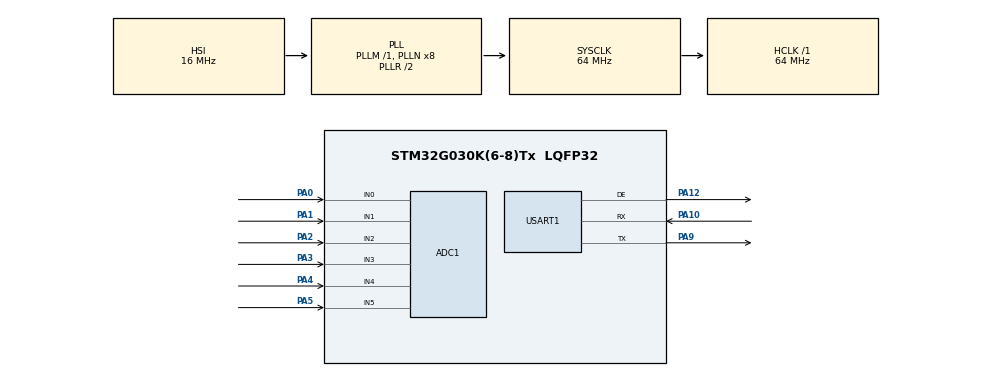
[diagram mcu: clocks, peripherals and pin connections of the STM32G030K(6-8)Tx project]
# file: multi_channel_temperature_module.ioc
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ADC1.Channel-0\#ChannelRegularConversion=ADC_CHANNEL_0
ADC1.Channel-1\#ChannelRegularConversion=ADC_CHANNEL_1
ADC1.Channel-2\#ChannelRegularConversion=ADC_CHANNEL_2
ADC1.Channel-3\#ChannelRegularConversion=ADC_CHANNEL_3
ADC1.Channel-4\#ChannelRegularConversion=ADC_CHANNEL_4
ADC1.Channel-5\#ChannelRegularConversion=ADC_CHANNEL_5
ADC1.Channel-6\#ChannelRegularConversion=ADC_CHANNEL_VREFINT
ADC1.ContinuousConvMode=ENABLE
ADC1.NbrOfConversion=7
ADC1.NbrOfConversionFlag=1
ADC1.OversamplingMode=ENABLE
ADC1.Rank-0\#ChannelRegularConversion=1
ADC1.Rank-1\#ChannelRegularConversion=2
ADC1.Rank-2\#ChannelRegularConversion=3
ADC1.Rank-3\#ChannelRegularConversion=4
ADC1.Rank-4\#ChannelRegularConversion=5
ADC1.Rank-5\#ChannelRegularConversion=6
ADC1.Rank-6\#ChannelRegularConversion=7
ADC1.Ratio=ADC_OVERSAMPLING_RATIO_16
ADC1.RightBitShift=ADC_RIGHTBITSHIFT_4
ADC1.SamplingTime-0\#ChannelRegularConversion=ADC_SAMPLINGTIME_COMMON_1
ADC1.SamplingTime-1\#ChannelRegularConversion=ADC_SAMPLINGTIME_COMMON_1
ADC1.SamplingTime-2\#ChannelRegularConversion=ADC_SAMPLINGTIME_COMMON_1
ADC1.SamplingTime-3\#ChannelRegularConversion=ADC_SAMPLINGTIME_COMMON_1
ADC1.SamplingTime-4\#ChannelRegularConversion=ADC_SAMPLINGTIME_COMMON_1
ADC1.SamplingTime-5\#ChannelRegularConversion=ADC_SAMPLINGTIME_COMMON_1
ADC1.SamplingTime-6\#ChannelRegularConversion=ADC_SAMPLINGTIME_COMMON_1
ADC1.SamplingTimeCommon1=ADC_SAMPLETIME_12CYCLES_5
ADC1.SamplingTimeCommon2=ADC_SAMPLETIME_12CYCLES_5
ADC1.SelectedChannel=ADC_CHANNEL_0|ADC_CHANNEL_1|ADC_CHANNEL_2|ADC_CHANNEL_3|ADC_CHANNEL_4|ADC_CHANNEL_5|ADC_CHANNEL_VREFINT
ADC1.master=1
Dma.ADC1.0.Direction=DMA_PERIPH_TO_MEMORY
Dma.ADC1.0.EventEnable=DISABLE
Dma.ADC1.0.Instance=DMA1_Channel1
Dma.ADC1.0.MemDataAlignment=DMA_MDATAALIGN_HALFWORD
Dma.ADC1.0.MemInc=DMA_MINC_ENABLE
Dma.ADC1.0.Mode=DMA_CIRCULAR
Dma.ADC1.0.PeriphDataAlignment=DMA_PDATAALIGN_HALFWORD
Dma.ADC1.0.PeriphInc=DMA_PINC_DISABLE
Dma.ADC1.0.Polarity=HAL_DMAMUX_REQ_GEN_RISING
Dma.ADC1.0.Priority=DMA_PRIORITY_LOW
Dma.ADC1.0.RequestNumber=1
Dma.ADC1.0.SignalID=NONE
Dma.ADC1.0.SyncEnable=DISABLE
Dma.ADC1.0.SyncPolarity=HAL_DMAMUX_SYNC_NO_EVENT
Dma.ADC1.0.SyncRequestNumber=1
Dma.ADC1.0.SyncSignalID=NONE
Dma.Request0=ADC1
FREERTOS.Tasks01=analog,-3,128,Analog_Task,Default,NULL,Dynamic,NULL,NULL;communication,-3,128,Communication_Task,Default,NULL,Dynamic,NULL,NULL;memory,-3,128,Memory_Task,Default,NULL,Dynamic,NULL,NULL
FREERTOS.configUSE_NEWLIB_REENTRANT=1
Mcu.Family=STM32G0
Mcu.Name=STM32G030K(6-8)Tx
Mcu.Package=LQFP32
NVIC.DMA1_Channel1_IRQn=true\:3\:0\:false\:false\:true\:true\:false\:true\:true
NVIC.TIM14_IRQn=true\:3\:0\:false\:false\:true\:false\:false\:true\:true
NVIC.TimeBase=TIM14_IRQn
NVIC.TimeBaseIP=TIM14
PA0.Mode=IN0
PA0.Signal=ADC1_IN0
PA1.Mode=IN1
PA1.Signal=ADC1_IN1
PA10.Mode=Asynchronous
PA10.Signal=USART1_RX
PA12\ [PA10].Mode=Hardware Flow Control (RS485)
PA12\ [PA10].Signal=USART1_DE
PA13.Mode=Serial_Wire
PA13.Signal=SYS_SWDIO
PA14-BOOT0.Mode=Serial_Wire
PA14-BOOT0.Signal=SYS_SWCLK
PA2.Mode=IN2
PA2.Signal=ADC1_IN2
PA3.Mode=IN3
PA3.Signal=ADC1_IN3
PA4.Mode=IN4
PA4.Signal=ADC1_IN4
PA5.Mode=IN5
PA5.Signal=ADC1_IN5
PA9.Mode=Asynchronous
PA9.Signal=USART1_TX
ProjectManager.HeapSize=0x200
ProjectManager.StackSize=0x400
ProjectManager.TargetToolchain=STM32CubeIDE
RCC.ADCFreq_Value=64000000
RCC.AHBFreq_Value=64000000
RCC.CortexFreq_Value=64000000
RCC.EXTERNAL_CLOCK_VALUE=12288000
RCC.HCLKFreq_Value=64000000
RCC.HSE_VALUE=8000000
RCC.HSI_VALUE=16000000
RCC.LSE_VALUE=32768
RCC.SYSCLKFreq_VALUE=64000000
RCC.SYSCLKSource=RCC_SYSCLKSOURCE_PLLCLK
RCC.VCOOutputFreq_Value=128000000
USART1.VirtualMode-Asynchronous=VM_ASYNC
USART1.VirtualMode-Hardware\ Flow\ Control\ (RS485)=VM_ASYNC
VP_ADC1_Vref_Input.Mode=IN-Vrefint
VP_FREERTOS_VS_CMSIS_V1.Mode=CMSIS_V1
VP_SYS_VS_tim14.Mode=TIM14
board=custom

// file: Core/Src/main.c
/* USER CODE BEGIN Header */
/**
  ******************************************************************************
  * @file           : main.c
  * @brief          : Main program body
  ******************************************************************************
  * @attention
  *
  * Copyright (c) 2023 STMicroelectronics.
  * All rights reserved.
  *
  * This software is licensed under terms that can be found in the LICENSE file
  * in the root directory of this software component.
  * If no LICENSE file comes with this software, it is provided AS-IS.
  *
  ******************************************************************************
  */
/* USER CODE END Header */
#include "main.h"
#include "cmsis_os.h"
#include "adc.h"
#include "dma.h"
#include "usart.h"
#include "gpio.h"

void SystemClock_Config(void);
void MX_FREERTOS_Init(void);

/* USER CODE BEGIN 0 */

// external function

typedef struct{
	uint16_t counter_period;
	uint8_t finished : 1;
	uint8_t enabled : 1;
	uint8_t paused : 1;
	TIM_HandleTypeDef *htim;
}Communication_Interval_Timer_TypeDef;

static Communication_Interval_Timer_TypeDef interval_timer = {0};

void UART_Reflesh(UART_HandleTypeDef *huart, uint8_t *buffer, uint8_t size){
	HAL_UART_AbortReceive_IT(huart);
	HAL_UART_Receive_DMA(huart, buffer, size);
}

void UART_Wtite(UART_HandleTypeDef *huart, uint8_t *data, uint8_t len){
	HAL_UART_Transmit_DMA(huart, data, len);
}

void UART_Reset_Error(UART_HandleTypeDef *huart){
	if (
		__HAL_UART_GET_FLAG(huart, UART_FLAG_ORE) ||
		__HAL_UART_GET_FLAG(huart, UART_FLAG_NE) ||
		__HAL_UART_GET_FLAG(huart, UART_FLAG_FE) ||
		__HAL_UART_GET_FLAG(huart, UART_FLAG_PE)
		){
		UART_Functions->Reflesh((uint8_t*)uart_rx_buffer, UART_BUFFER_SIZE);
	}
}

void HAL_UART_TxCpltCallback(UART_HandleTypeDef *huart){

}

void HAL_UART_ErrorCallback(UART_HandleTypeDef *huart){
	if(huart->Instance==USART1){
		UART_Functions->Reflesh((uint8_t*)uart_rx_buffer, UART_BUFFER_SIZE);
	}
}

void UART_Config_Reflesh(UART_HandleTypeDef *huart, uint8_t baudrate){

	//0x00:1200 0x01:2400 0x02:4800 0x03:9600 0x04:14400 0x05:19200
	//0x06:38600 0x07:57600 0x08:115200 0x09:230400 0x0A:460800 0x0B:921600 baud
	if(baudrate <= 0x0b){
		huart->Init.BaudRate = baudrate];
		Interval_Timer_Functions->Set_Period(INTERVAL_TIME[baudrate]);
	}
	else{
		huart->Init.BaudRate = BAUDRATE[3];//9600baud
		Interval_Timer_Functions->Set_Period(INTERVAL_TIME[3]);
	}

	huart->Init.WordLength = UART_WORDLENGTH_8B;
	huart->Init.StopBits = UART_STOPBITS_1;
	huart->Init.Parity = UART_PARITY_NONE;
	huart->Init.Mode = UART_MODE_TX_RX;
	huart->Init.HwFlowCtl = UART_HWCONTROL_NONE;
	huart->Init.OverSampling = UART_OVERSAMPLING_16;
	huart->Init.OneBitSampling = UART_ONE_BIT_SAMPLE_DISABLE;
	huart->Init.ClockPrescaler = UART_PRESCALER_DIV1;
	huart->AdvancedInit.AdvFeatureInit = UART_ADVFEATURE_NO_INIT;

	if (HAL_RS485Ex_Init(huart, UART_DE_POLARITY_HIGH, 0, 0) != HAL_OK)
	{
		Error_Handler();
	}
	if (HAL_UARTEx_SetTxFifoThreshold(huart, UART_TXFIFO_THRESHOLD_1_8) != HAL_OK)
	{
		Error_Handler();
	}
	if (HAL_UARTEx_SetRxFifoThreshold(huart, UART_RXFIFO_THRESHOLD_1_8) != HAL_OK)
	{
		Error_Handler();
	}
	if (HAL_UARTEx_DisableFifoMode(huart) != HAL_OK)
	{
		Error_Handler();
	}
}

//3.5T Counter Period
static const uint16_t INTERVAL_TIME[] = {
	//0x00:1200 0x01:2400 0x02:4800 0x03:9600 0x04:14400 0x05:19200
	//0x06:38400 0x07:57600 0x08:115200 0x09:230400 0x0A:460800 0x0B:921600 baud
	29167,
	14584,
	7292,
	3646,
	2431,
	1823,
	912,
	608,
	304,
	152,
	76,
	38,
};

static const uint32_t BAUDRATE[] = {
	//0x00:1200 0x01:2400 0x02:4800 0x03:9600 0x04:14400 0x05:19200
	//0x06:38400 0x07:57600 0x08:115200 0x09:230400 0x0A:460800 0x0B:921600 baud
	1200,
	2400,
	4800,
	9600,
	14400,
	19200,
	38400,
	57600,
	115200,
	230400,
	460800,
	921600,
};

static void Interval_Timer_Start(){
	if(!interval_timer.enabled){
		interval_timer.enabled = 1;
		//__HAL_TIM_SET_COUNTER(interval_timer.htim, 0);
		__HAL_TIM_CLEAR_FLAG(interval_timer.htim, TIM_FLAG_UPDATE);
		HAL_TIM_Base_Start_IT(interval_timer.htim);
	}
}

void Interval_Timer_Timeout(){
	interval_timer.enabled = 0;
	interval_timer.finished = 1;
	HAL_TIM_Base_Stop_IT(interval_timer.htim);
}

static void Interval_Timer_Set_Period(uint16_t counter_period){
	interval_timer.counter_period = counter_period;
	interval_timer.htim->Init.Period = counter_period;
	if ( (interval_timer.htim) != HAL_OK)
	{
		Error_Handler();
	}
	if (HAL_TIM_OnePulse_Init(interval_timer.htim, TIM_OPMODE_SINGLE) != HAL_OK)
	{
		Error_Handler();
	}
	TIM_MasterConfigTypeDef sMasterConfig = {0};
	sMasterConfig.MasterOutputTrigger = TIM_TRGO_RESET;
	sMasterConfig.MasterSlaveMode = TIM_MASTERSLAVEMODE_DISABLE;
	if (HAL_TIMEx_MasterConfigSynchronization(interval_timer.htim, &sMasterConfig) != HAL_OK)
	{
		Error_Handler();
	}
}

static uint8_t Interval_Timer_IsFinished(){
	uint8_t b = interval_timer.finished;
	if(b){
		interval_timer.finished = 0;
	}
	return b;
}

/* USER CODE END 0 */

int main(void)
{

  /* MCU Configuration--------------------------------------------------------*/

  /* Reset of all peripherals, Initializes the Flash interface and the Systick. */
  HAL_Init();

  /* Configure the system clock */
  SystemClock_Config();

  /* Initialize all configured peripherals */
  MX_GPIO_Init();
  MX_DMA_Init();
  MX_ADC1_Init();
  MX_USART1_UART_Init();

  /* Call init function for freertos objects (in freertos.c) */
  MX_FREERTOS_Init();

  /* Start scheduler */
  osKernelStart();
  /* We should never get here as control is now taken by the scheduler */
  /* Infinite loop */
  while (1)
  {

  }
}

void SystemClock_Config(void)
{
  RCC_OscInitTypeDef RCC_OscInitStruct = {0};
  RCC_ClkInitTypeDef RCC_ClkInitStruct = {0};

  /** Configure the main internal regulator output voltage
  */
  HAL_PWREx_ControlVoltageScaling(PWR_REGULATOR_VOLTAGE_SCALE1);

  /** Initializes the RCC Oscillators according to the specified parameters
  * in the RCC_OscInitTypeDef structure.
  */
  RCC_OscInitStruct.OscillatorType = RCC_OSCILLATORTYPE_HSI;
  RCC_OscInitStruct.HSIState = RCC_HSI_ON;
  RCC_OscInitStruct.HSIDiv = RCC_HSI_DIV1;
  RCC_OscInitStruct.HSICalibrationValue = RCC_HSICALIBRATION_DEFAULT;
  RCC_OscInitStruct.PLL.PLLState = RCC_PLL_ON;
  RCC_OscInitStruct.PLL.PLLSource = RCC_PLLSOURCE_HSI;
  RCC_OscInitStruct.PLL.PLLM = RCC_PLLM_DIV1;
  RCC_OscInitStruct.PLL.PLLN = 8;
  RCC_OscInitStruct.PLL.PLLP = RCC_PLLP_DIV2;
  RCC_OscInitStruct.PLL.PLLR = RCC_PLLR_DIV2;
  if (HAL_RCC_OscConfig(&RCC_OscInitStruct) != HAL_OK)
  {
    Error_Handler();
  }

  /** Initializes the CPU, AHB and APB buses clocks
  */
  RCC_ClkInitStruct.ClockType = RCC_CLOCKTYPE_HCLK|RCC_CLOCKTYPE_SYSCLK
                              |RCC_CLOCKTYPE_PCLK1;
  RCC_ClkInitStruct.SYSCLKSource = RCC_SYSCLKSOURCE_PLLCLK;
  RCC_ClkInitStruct.AHBCLKDivider = RCC_SYSCLK_DIV1;
  RCC_ClkInitStruct.APB1CLKDivider = RCC_HCLK_DIV1;

  if (HAL_RCC_ClockConfig(&RCC_ClkInitStruct, FLASH_LATENCY_2) != HAL_OK)
  {
    Error_Handler();
  }
}

void HAL_TIM_PeriodElapsedCallback(TIM_HandleTypeDef *htim)
{
  if (htim->Instance == TIM14) {
    HAL_IncTick();
  }
}

void Error_Handler(void)
{
  __disable_irq();
  while (1)
  {
  }
}

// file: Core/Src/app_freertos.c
/* USER CODE BEGIN Header */
/**
  ******************************************************************************
  * File Name          : app_freertos.c
  * Description        : Code for freertos applications
  ******************************************************************************
  * @attention
  *
  * Copyright (c) 2023 STMicroelectronics.
  * All rights reserved.
  *
  * This software is licensed under terms that can be found in the LICENSE file
  * in the root directory of this software component.
  * If no LICENSE file comes with this software, it is provided AS-IS.
  *
  ******************************************************************************
  */
/* USER CODE END Header */

#include "FreeRTOS.h"
#include "task.h"
#include "main.h"
#include "cmsis_os.h"

osThreadId analogHandle;
osThreadId communicationHandle;
osThreadId memoryHandle;

void Analog_Task(void const * argument);
void Communication_Task(void const * argument);
void Memory_Task(void const * argument);

void MX_FREERTOS_Init(void); /* (MISRA C 2004 rule 8.1) */

void MX_FREERTOS_Init(void) {

  /* Create the thread(s) */
  /* definition and creation of analog */
  osThreadDef(analog, Analog_Task, osPriorityIdle, 0, 128);
  analogHandle = osThreadCreate(osThread(analog), NULL);

  /* definition and creation of communication */
  osThreadDef(communication, Communication_Task, osPriorityIdle, 0, 128);
  communicationHandle = osThreadCreate(osThread(communication), NULL);

  /* definition and creation of memory */
  osThreadDef(memory, Memory_Task, osPriorityIdle, 0, 128);
  memoryHandle = osThreadCreate(osThread(memory), NULL);

}

void Analog_Task(void const * argument)
{
  for(;;)
  {
    osDelay(1);
  }
}

void Communication_Task(void const * argument)
{
  for(;;)
  {
    osDelay(1);
  }
}

void Memory_Task(void const * argument)
{
  for(;;)
  {
    osDelay(1);
  }
}
